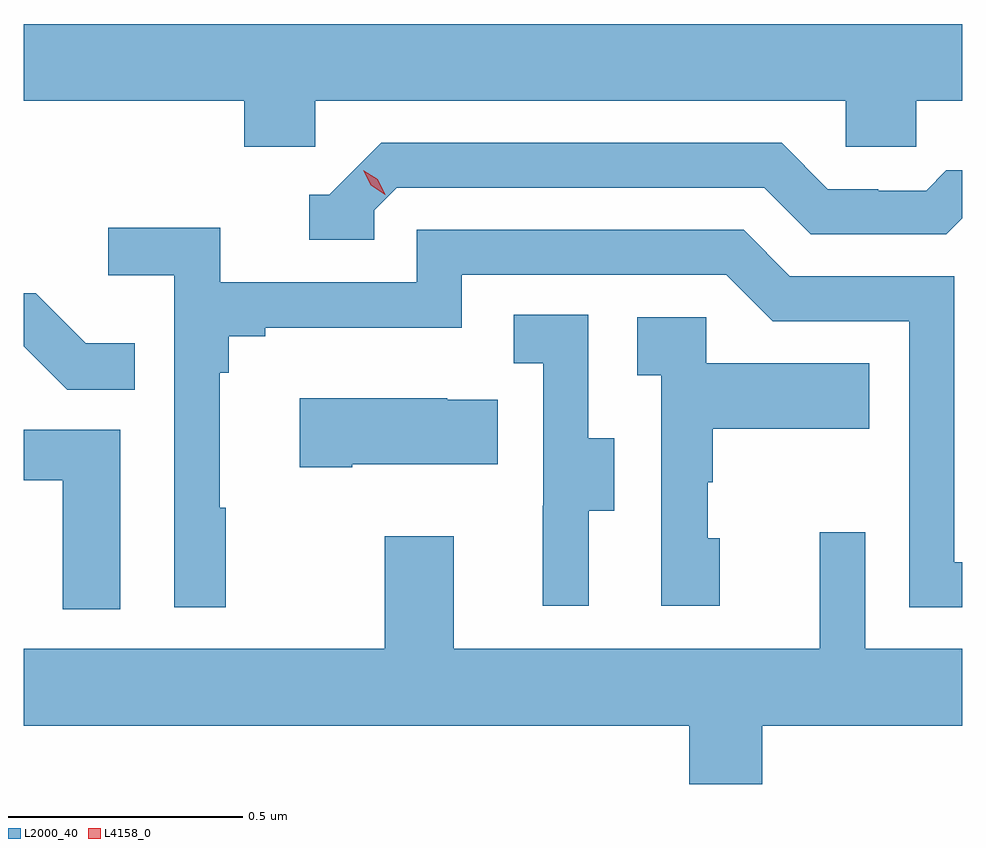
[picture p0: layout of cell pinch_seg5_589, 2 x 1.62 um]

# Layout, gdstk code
import gdstk
lib = gdstk.Library(unit=1e-6, precision=1e-09)
def P(c, l, *ps):  # polygons
    for p in ps: c.add(gdstk.Polygon(p, *l))
L2000_40 = (2000, 40)
L4158_0 = (4158, 0)

pinch_seg5_589 = lib.new_cell('pinch_seg5_589')
P(pinch_seg5_589, L2000_40, [(1137.594,858.092),(1138.725,858.092),(1138.725,857.994),(1138.875,857.994),(1138.875,858.092),(1138.973,858.092),(1138.973,858.256),(1136.973,858.256),(1136.973,858.092),(1137.443,858.092),(1137.443,857.994),(1137.594,857.994)],
  [(1137.72,857.859),(1137.768,857.907),(1138.551,857.907),(1138.65,857.808),(1138.939,857.808),(1138.973,857.842),(1138.973,857.944),(1138.939,857.944),(1138.897,857.901),(1138.794,857.901),(1138.794,857.904),(1138.687,857.904),(1138.588,858.003),(1137.735,858.003),(1137.624,857.892),(1137.581,857.892),(1137.581,857.796),(1137.72,857.796)],
  [(1137.403,857.225),(1137.391,857.225),(1137.391,857.513),(1137.41,857.513),(1137.41,857.59),(1137.487,857.59),(1137.487,857.609),(1137.906,857.609),(1137.906,857.721),(1138.47,857.721),(1138.569,857.622),(1138.86,857.622),(1138.86,857.013),(1138.973,857.013),(1138.973,857.109),(1138.956,857.109),(1138.956,857.718),(1138.606,857.718),(1138.507,857.817),(1137.81,857.817),(1137.81,857.706),(1137.392,857.706),(1137.392,857.822),(1137.153,857.822),(1137.153,857.72),(1137.294,857.72),(1137.294,857.013),(1137.403,857.013)],
  [(1137.209,857.575),(1137.105,857.575),(1136.998,857.682),(1136.973,857.682),(1136.973,857.569),(1137.066,857.476),(1137.209,857.476)],
  [(1138.177,857.218),(1138.231,857.218),(1138.231,857.373),(1138.176,857.373),(1138.176,857.636),(1138.017,857.636),(1138.017,857.533),(1138.08,857.533),(1138.08,857.229),(1138.079,857.229),(1138.079,857.016),(1138.177,857.016)],
  [(1138.456,857.16),(1138.431,857.16),(1138.431,857.279),(1138.441,857.279),(1138.441,857.393),(1138.775,857.393),(1138.775,857.533),(1138.428,857.533),(1138.428,857.631),(1138.281,857.631),(1138.281,857.507),(1138.332,857.507),(1138.332,857.016),(1138.456,857.016)],
  [(1137.673,857.318),(1137.983,857.318),(1137.983,857.455),(1137.875,857.455),(1137.875,857.458),(1137.561,857.458),(1137.561,857.311),(1137.673,857.311)],
  [(1137.178,857.391),(1136.973,857.391),(1136.973,857.283),(1137.056,857.283),(1137.056,857.009),(1137.178,857.009)],
  [(1138.547,856.76),(1138.973,856.76),(1138.973,856.924),(1138.767,856.924),(1138.767,857.173),(1138.67,857.173),(1138.67,856.924),(1137.889,856.924),(1137.889,857.164),(1137.742,857.164),(1137.742,856.924),(1136.973,856.924),(1136.973,856.76),(1138.391,856.76),(1138.391,856.636),(1138.547,856.636)])
P(pinch_seg5_589, L4158_0, [(1137.743,857.892),(1137.712,857.912),(1137.696,857.944),(1137.696,857.944),(1137.696,857.944),(1137.727,857.925),(1137.743,857.893),(1137.743,857.892)])

lib.write_gds('pinch_seg5_589.gds')
